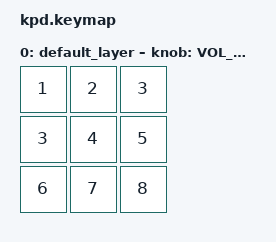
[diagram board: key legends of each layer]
#include <behaviors.dtsi>
#include <dt-bindings/zmk/keys.h>

/ {
    keymap {
        compatible = "zmk,keymap";

        default_layer {
// -----------------------------------------------------------
// |   1   |   2   |    3   |
// |   4   |   5   |    6   |  
// |   7   |   8   |    9   |  0 
            bindings = <
    &kp 1    &kp 2    &kp 3 
    &kp 3    &kp 4    &kp 5
    &kp 6    &kp 7    &kp 8
            >;

            sensor-bindings = <&inc_dec_kp C_VOL_UP C_VOL_DN>;
        };
    };
};
